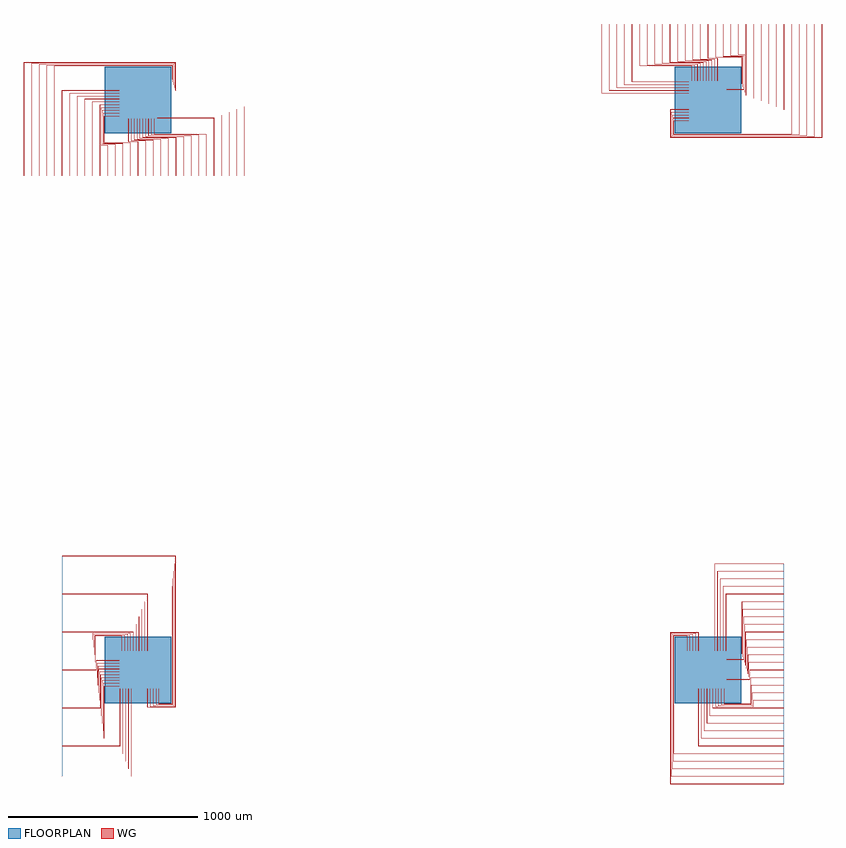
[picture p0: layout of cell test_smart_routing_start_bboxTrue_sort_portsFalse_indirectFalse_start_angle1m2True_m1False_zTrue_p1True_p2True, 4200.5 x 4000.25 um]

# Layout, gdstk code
import gdstk
lib = gdstk.Library(unit=1e-6, precision=1e-09)
def R(c, l, rs):  # rectangles x0, y0, x1, y1
    for r in rs: c.add(gdstk.rectangle(r[:2], r[2:], *l))
def P(c, l, *ps):  # polygons
    for p in ps: c.add(gdstk.Polygon(p, *l))
WG = (1, 0)
FLOORPLAN = (10, 0)

test_smart_routing_start = lib.new_cell('test_smart_routing_start_bboxTrue_sort_portsFalse_indirectFalse_start_angle1m2True_m1False_zTrue_p1True_p2True')
P(test_smart_routing_start, WG, [(2802.8,2802.8),(2802.8,2949.95),(2900,2949.95),(2900,2949.75),(2803,2949.75),(2803,2803),(3599.75,2803),(3599.75,3400),(3599.95,3400),(3599.95,2802.8)],
  [(2802.5,2802.5),(2802.5,2950.25),(2900,2950.25),(2900,2950.05),(2802.7,2950.05),(2802.7,2802.7),(3600.05,2802.7),(3600.05,3400),(3600.25,3400),(3600.25,2802.5)],
  [(2807.3,2807.3),(2807.3,2934.95),(2900,2934.95),(2900,2934.75),(2807.5,2934.75),(2807.5,2807.5),(3559.75,2807.5),(3559.75,3400),(3559.95,3400),(3559.95,2807.3)],
  [(2807,2807),(2807,2935.25),(2900,2935.25),(2900,2935.05),(2807.2,2935.05),(2807.2,2807.2),(3560.05,2807.2),(3560.05,3400),(3560.25,3400),(3560.25,2807)],
  [(2811.8,2811.8),(2811.8,2919.95),(2900,2919.95),(2900,2919.75),(2812,2919.75),(2812,2812),(3519.75,2812),(3519.75,3400),(3519.95,3400),(3519.95,2811.8)],
  [(2811.5,2811.5),(2811.5,2920.25),(2900,2920.25),(2900,2920.05),(2811.7,2920.05),(2811.7,2811.7),(3520.05,2811.7),(3520.05,3400),(3520.25,3400),(3520.25,2811.5)],
  [(2816.3,2816.3),(2816.3,2904.95),(2900,2904.95),(2900,2904.75),(2816.5,2904.75),(2816.5,2816.5),(3479.75,2816.5),(3479.75,3400),(3479.95,3400),(3479.95,2816.3)],
  [(2816,2816),(2816,2905.25),(2900,2905.25),(2900,2905.05),(2816.2,2905.05),(2816.2,2816.2),(3480.05,2816.2),(3480.05,3400),(3480.25,3400),(3480.25,2816)],
  [(2820.8,2820.8),(2820.8,2889.95),(2900,2889.95),(2900,2889.75),(2821,2889.75),(2821,2821),(3439.75,2821),(3439.75,3400),(3439.95,3400),(3439.95,2820.8)],
  [(2820.5,2820.5),(2820.5,2890.25),(2900,2890.25),(2900,2890.05),(2820.7,2890.05),(2820.7,2820.7),(3440.05,2820.7),(3440.05,3400),(3440.25,3400),(3440.25,2820.5)],
  [(3100,2950.05),(3100,2950.25),(3399.75,2950.25),(3399.75,3400),(3399.95,3400),(3399.95,2950.05)],
  [(3100,2949.75),(3100,2949.95),(3400.05,2949.95),(3400.05,3400),(3400.25,3400),(3400.25,2949.75)],
  [(3100,2965.05),(3100,2965.25),(3359.75,2965.25),(3359.75,3400),(3359.95,3400),(3359.95,2965.05)],
  [(3100,2964.75),(3100,2964.95),(3360.05,2964.95),(3360.05,3400),(3360.25,3400),(3360.25,2964.75)],
  [(3100,2980.05),(3100,2980.25),(3319.75,2980.25),(3319.75,3400),(3319.95,3400),(3319.95,2980.05)],
  [(3100,2979.75),(3100,2979.95),(3320.05,2979.95),(3320.05,3400),(3320.25,3400),(3320.25,2979.75)],
  [(3100,2995.05),(3100,2995.25),(3279.75,2995.25),(3279.75,3400),(3279.95,3400),(3279.95,2995.05)],
  [(3100,2994.75),(3100,2994.95),(3280.05,2994.95),(3280.05,3400),(3280.25,3400),(3280.25,2994.75)],
  [(3100,3010.05),(3100,3010.25),(3239.75,3010.25),(3239.75,3400),(3239.95,3400),(3239.95,3010.05)],
  [(3100,3009.75),(3100,3009.95),(3240.05,3009.95),(3240.05,3400),(3240.25,3400),(3240.25,3009.75)],
  [(3100,3025.05),(3100,3025.25),(3199.75,3025.25),(3199.75,3400),(3199.95,3400),(3199.95,3025.05)],
  [(3100,3024.75),(3100,3024.95),(3200.05,3024.95),(3200.05,3400),(3200.25,3400),(3200.25,3024.75)],
  [(3100,3040.05),(3100,3040.25),(3192.5,3040.25),(3192.5,3237.5),(3159.75,3237.5),(3159.75,3400),(3159.95,3400),(3159.95,3237.7),(3192.7,3237.7),(3192.7,3040.05)],
  [(3100,3039.75),(3100,3039.95),(3192.8,3039.95),(3192.8,3237.8),(3160.05,3237.8),(3160.05,3400),(3160.25,3400),(3160.25,3238),(3193,3238),(3193,3039.75)],
  [(3100,3055.05),(3100,3055.25),(3188,3055.25),(3188,3233),(3119.75,3233),(3119.75,3400),(3119.95,3400),(3119.95,3233.2),(3188.2,3233.2),(3188.2,3055.05)],
  [(3100,3054.75),(3100,3054.95),(3188.3,3054.95),(3188.3,3233.3),(3120.05,3233.3),(3120.05,3400),(3120.25,3400),(3120.25,3233.5),(3188.5,3233.5),(3188.5,3054.75)],
  [(3100,3070.05),(3100,3070.25),(3183.5,3070.25),(3183.5,3228.5),(3079.75,3228.5),(3079.75,3400),(3079.95,3400),(3079.95,3228.7),(3183.7,3228.7),(3183.7,3070.05)],
  [(3100,3069.75),(3100,3069.95),(3183.8,3069.95),(3183.8,3228.8),(3080.05,3228.8),(3080.05,3400),(3080.25,3400),(3080.25,3229),(3184,3229),(3184,3069.75)],
  [(3100,3085.05),(3100,3085.25),(3179,3085.25),(3179,3224),(3039.75,3224),(3039.75,3400),(3039.95,3400),(3039.95,3224.2),(3179.2,3224.2),(3179.2,3085.05)],
  [(3100,3084.75),(3100,3084.95),(3179.3,3084.95),(3179.3,3224.3),(3040.05,3224.3),(3040.05,3400),(3040.25,3400),(3040.25,3224.5),(3179.5,3224.5),(3179.5,3084.75)],
  [(3049.75,3100),(3049.75,3219.5),(2999.75,3219.5),(2999.75,3400),(2999.95,3400),(2999.95,3219.7),(3049.95,3219.7),(3049.95,3100)],
  [(3050.05,3100),(3050.05,3219.8),(3000.05,3219.8),(3000.05,3400),(3000.25,3400),(3000.25,3220),(3050.25,3220),(3050.25,3100)],
  [(3034.75,3100),(3034.75,3215),(2959.75,3215),(2959.75,3400),(2959.95,3400),(2959.95,3215.2),(3034.95,3215.2),(3034.95,3100)],
  [(3035.05,3100),(3035.05,3215.3),(2960.05,3215.3),(2960.05,3400),(2960.25,3400),(2960.25,3215.5),(3035.25,3215.5),(3035.25,3100)],
  [(3019.75,3100),(3019.75,3210.5),(2919.75,3210.5),(2919.75,3400),(2919.95,3400),(2919.95,3210.7),(3019.95,3210.7),(3019.95,3100)],
  [(3020.05,3100),(3020.05,3210.8),(2920.05,3210.8),(2920.05,3400),(2920.25,3400),(2920.25,3211),(3020.25,3211),(3020.25,3100)],
  [(3004.75,3100),(3004.75,3206),(2879.75,3206),(2879.75,3400),(2879.95,3400),(2879.95,3206.2),(3004.95,3206.2),(3004.95,3100)],
  [(3005.05,3100),(3005.05,3206.3),(2880.05,3206.3),(2880.05,3400),(2880.25,3400),(2880.25,3206.5),(3005.25,3206.5),(3005.25,3100)],
  [(2989.75,3100),(2989.75,3201.5),(2839.75,3201.5),(2839.75,3400),(2839.95,3400),(2839.95,3201.7),(2989.95,3201.7),(2989.95,3100)],
  [(2990.05,3100),(2990.05,3201.8),(2840.05,3201.8),(2840.05,3400),(2840.25,3400),(2840.25,3202),(2990.25,3202),(2990.25,3100)],
  [(2974.75,3100),(2974.75,3197),(2799.75,3197),(2799.75,3400),(2799.95,3400),(2799.95,3197.2),(2974.95,3197.2),(2974.95,3100)],
  [(2975.05,3100),(2975.05,3197.3),(2800.05,3197.3),(2800.05,3400),(2800.25,3400),(2800.25,3197.5),(2975.25,3197.5),(2975.25,3100)],
  [(2959.75,3100),(2959.75,3192.5),(2759.75,3192.5),(2759.75,3400),(2759.95,3400),(2759.95,3192.7),(2959.95,3192.7),(2959.95,3100)],
  [(2960.05,3100),(2960.05,3192.8),(2760.05,3192.8),(2760.05,3400),(2760.25,3400),(2760.25,3193),(2960.25,3193),(2960.25,3100)],
  [(2944.75,3100),(2944.75,3188),(2719.75,3188),(2719.75,3400),(2719.95,3400),(2719.95,3188.2),(2944.95,3188.2),(2944.95,3100)],
  [(2945.05,3100),(2945.05,3188.3),(2720.05,3188.3),(2720.05,3400),(2720.25,3400),(2720.25,3188.5),(2945.25,3188.5),(2945.25,3100)],
  [(2929.75,3100),(2929.75,3183.5),(2679.75,3183.5),(2679.75,3400),(2679.95,3400),(2679.95,3183.7),(2929.95,3183.7),(2929.95,3100)],
  [(2930.05,3100),(2930.05,3183.8),(2680.05,3183.8),(2680.05,3400),(2680.25,3400),(2680.25,3184),(2930.25,3184),(2930.25,3100)],
  [(2914.75,3100),(2914.75,3179),(2639.75,3179),(2639.75,3400),(2639.95,3400),(2639.95,3179.2),(2914.95,3179.2),(2914.95,3100)],
  [(2915.05,3100),(2915.05,3179.3),(2640.05,3179.3),(2640.05,3400),(2640.25,3400),(2640.25,3179.5),(2915.25,3179.5),(2915.25,3100)],
  [(2439.75,3034.75),(2439.75,3400),(2439.95,3400),(2439.95,3034.95),(2900,3034.95),(2900,3034.75)],
  [(2440.05,3035.05),(2440.05,3400),(2440.25,3400),(2440.25,3035.25),(2900,3035.25),(2900,3035.05)],
  [(2479.75,3049.75),(2479.75,3400),(2479.95,3400),(2479.95,3049.95),(2900,3049.95),(2900,3049.75)],
  [(2480.05,3050.05),(2480.05,3400),(2480.25,3400),(2480.25,3050.25),(2900,3050.25),(2900,3050.05)],
  [(2519.75,3064.75),(2519.75,3400),(2519.95,3400),(2519.95,3064.95),(2900,3064.95),(2900,3064.75)],
  [(2520.05,3065.05),(2520.05,3400),(2520.25,3400),(2520.25,3065.25),(2900,3065.25),(2900,3065.05)],
  [(2559.75,3079.75),(2559.75,3400),(2559.95,3400),(2559.95,3079.95),(2900,3079.95),(2900,3079.75)],
  [(2560.05,3080.05),(2560.05,3400),(2560.25,3400),(2560.25,3080.25),(2900,3080.25),(2900,3080.05)],
  [(2599.75,3094.75),(2599.75,3400),(2599.95,3400),(2599.95,3094.95),(2900,3094.95),(2900,3094.75)],
  [(2600.05,3095.05),(2600.05,3400),(2600.25,3400),(2600.25,3095.25),(2900,3095.25),(2900,3095.05)],
  [(-599.95,2600),(-599.95,3197.2),(197.2,3197.2),(197.2,3050.05),(100,3050.05),(100,3050.25),(197,3050.25),(197,3197),(-599.75,3197),(-599.75,2600)],
  [(-600.25,2600),(-600.25,3197.5),(197.5,3197.5),(197.5,3049.75),(100,3049.75),(100,3049.95),(197.3,3049.95),(197.3,3197.3),(-600.05,3197.3),(-600.05,2600)],
  [(-559.95,2600),(-559.95,3192.7),(192.7,3192.7),(192.7,3065.05),(100,3065.05),(100,3065.25),(192.5,3065.25),(192.5,3192.5),(-559.75,3192.5),(-559.75,2600)],
  [(-560.25,2600),(-560.25,3193),(193,3193),(193,3064.75),(100,3064.75),(100,3064.95),(192.8,3064.95),(192.8,3192.8),(-560.05,3192.8),(-560.05,2600)],
  [(-519.95,2600),(-519.95,3188.2),(188.2,3188.2),(188.2,3080.05),(100,3080.05),(100,3080.25),(188,3080.25),(188,3188),(-519.75,3188),(-519.75,2600)],
  [(-520.25,2600),(-520.25,3188.5),(188.5,3188.5),(188.5,3079.75),(100,3079.75),(100,3079.95),(188.3,3079.95),(188.3,3188.3),(-520.05,3188.3),(-520.05,2600)],
  [(-479.95,2600),(-479.95,3183.7),(183.7,3183.7),(183.7,3095.05),(100,3095.05),(100,3095.25),(183.5,3095.25),(183.5,3183.5),(-479.75,3183.5),(-479.75,2600)],
  [(-480.25,2600),(-480.25,3184),(184,3184),(184,3094.75),(100,3094.75),(100,3094.95),(183.8,3094.95),(183.8,3183.8),(-480.05,3183.8),(-480.05,2600)],
  [(-439.95,2600),(-439.95,3179.2),(179.2,3179.2),(179.2,3110.05),(100,3110.05),(100,3110.25),(179,3110.25),(179,3179),(-439.75,3179),(-439.75,2600)],
  [(-440.25,2600),(-440.25,3179.5),(179.5,3179.5),(179.5,3109.75),(100,3109.75),(100,3109.95),(179.3,3109.95),(179.3,3179.3),(-440.05,3179.3),(-440.05,2600)],
  [(-399.95,2600),(-399.95,3049.95),(-100,3049.95),(-100,3049.75),(-399.75,3049.75),(-399.75,2600)],
  [(-400.25,2600),(-400.25,3050.25),(-100,3050.25),(-100,3050.05),(-400.05,3050.05),(-400.05,2600)],
  [(-359.95,2600),(-359.95,3034.95),(-100,3034.95),(-100,3034.75),(-359.75,3034.75),(-359.75,2600)],
  [(-360.25,2600),(-360.25,3035.25),(-100,3035.25),(-100,3035.05),(-360.05,3035.05),(-360.05,2600)],
  [(-319.95,2600),(-319.95,3019.95),(-100,3019.95),(-100,3019.75),(-319.75,3019.75),(-319.75,2600)],
  [(-320.25,2600),(-320.25,3020.25),(-100,3020.25),(-100,3020.05),(-320.05,3020.05),(-320.05,2600)],
  [(-279.95,2600),(-279.95,3004.95),(-100,3004.95),(-100,3004.75),(-279.75,3004.75),(-279.75,2600)],
  [(-280.25,2600),(-280.25,3005.25),(-100,3005.25),(-100,3005.05),(-280.05,3005.05),(-280.05,2600)],
  [(-239.95,2600),(-239.95,2989.95),(-100,2989.95),(-100,2989.75),(-239.75,2989.75),(-239.75,2600)],
  [(-240.25,2600),(-240.25,2990.25),(-100,2990.25),(-100,2990.05),(-240.05,2990.05),(-240.05,2600)],
  [(-199.95,2600),(-199.95,2974.95),(-100,2974.95),(-100,2974.75),(-199.75,2974.75),(-199.75,2600)],
  [(-200.25,2600),(-200.25,2975.25),(-100,2975.25),(-100,2975.05),(-200.05,2975.05),(-200.05,2600)],
  [(-159.95,2600),(-159.95,2762.3),(-192.7,2762.3),(-192.7,2959.95),(-100,2959.95),(-100,2959.75),(-192.5,2959.75),(-192.5,2762.5),(-159.75,2762.5),(-159.75,2600)],
  [(-160.25,2600),(-160.25,2762),(-193,2762),(-193,2960.25),(-100,2960.25),(-100,2960.05),(-192.8,2960.05),(-192.8,2762.2),(-160.05,2762.2),(-160.05,2600)],
  [(-119.95,2600),(-119.95,2766.8),(-188.2,2766.8),(-188.2,2944.95),(-100,2944.95),(-100,2944.75),(-188,2944.75),(-188,2767),(-119.75,2767),(-119.75,2600)],
  [(-120.25,2600),(-120.25,2766.5),(-188.5,2766.5),(-188.5,2945.25),(-100,2945.25),(-100,2945.05),(-188.3,2945.05),(-188.3,2766.7),(-120.05,2766.7),(-120.05,2600)],
  [(-79.95,2600),(-79.95,2771.3),(-183.7,2771.3),(-183.7,2929.95),(-100,2929.95),(-100,2929.75),(-183.5,2929.75),(-183.5,2771.5),(-79.75,2771.5),(-79.75,2600)],
  [(-80.25,2600),(-80.25,2771),(-184,2771),(-184,2930.25),(-100,2930.25),(-100,2930.05),(-183.8,2930.05),(-183.8,2771.2),(-80.05,2771.2),(-80.05,2600)],
  [(-39.95,2600),(-39.95,2775.8),(-179.2,2775.8),(-179.2,2914.95),(-100,2914.95),(-100,2914.75),(-179,2914.75),(-179,2776),(-39.75,2776),(-39.75,2600)],
  [(-40.25,2600),(-40.25,2775.5),(-179.5,2775.5),(-179.5,2915.25),(-100,2915.25),(-100,2915.05),(-179.3,2915.05),(-179.3,2775.7),(-40.05,2775.7),(-40.05,2600)],
  [(-0.25,2600),(-0.25,2780),(-50.25,2780),(-50.25,2900),(-50.05,2900),(-50.05,2780.2),(-0.05,2780.2),(-0.05,2600)],
  [(0.05,2600),(0.05,2780.3),(-49.95,2780.3),(-49.95,2900),(-49.75,2900),(-49.75,2780.5),(0.25,2780.5),(0.25,2600)],
  [(39.75,2600),(39.75,2784.5),(-35.25,2784.5),(-35.25,2900),(-35.05,2900),(-35.05,2784.7),(39.95,2784.7),(39.95,2600)],
  [(40.05,2600),(40.05,2784.8),(-34.95,2784.8),(-34.95,2900),(-34.75,2900),(-34.75,2785),(40.25,2785),(40.25,2600)],
  [(79.75,2600),(79.75,2789),(-20.25,2789),(-20.25,2900),(-20.05,2900),(-20.05,2789.2),(79.95,2789.2),(79.95,2600)],
  [(80.05,2600),(80.05,2789.3),(-19.95,2789.3),(-19.95,2900),(-19.75,2900),(-19.75,2789.5),(80.25,2789.5),(80.25,2600)],
  [(119.75,2600),(119.75,2793.5),(-5.25,2793.5),(-5.25,2900),(-5.05,2900),(-5.05,2793.7),(119.95,2793.7),(119.95,2600)],
  [(120.05,2600),(120.05,2793.8),(-4.95,2793.8),(-4.95,2900),(-4.75,2900),(-4.75,2794),(120.25,2794),(120.25,2600)],
  [(159.75,2600),(159.75,2798),(9.75,2798),(9.75,2900),(9.95,2900),(9.95,2798.2),(159.95,2798.2),(159.95,2600)],
  [(160.05,2600),(160.05,2798.3),(10.05,2798.3),(10.05,2900),(10.25,2900),(10.25,2798.5),(160.25,2798.5),(160.25,2600)],
  [(199.75,2600),(199.75,2802.5),(24.75,2802.5),(24.75,2900),(24.95,2900),(24.95,2802.7),(199.95,2802.7),(199.95,2600)],
  [(200.05,2600),(200.05,2802.8),(25.05,2802.8),(25.05,2900),(25.25,2900),(25.25,2803),(200.25,2803),(200.25,2600)],
  [(239.75,2600),(239.75,2807),(39.75,2807),(39.75,2900),(39.95,2900),(39.95,2807.2),(239.95,2807.2),(239.95,2600)],
  [(240.05,2600),(240.05,2807.3),(40.05,2807.3),(40.05,2900),(40.25,2900),(40.25,2807.5),(240.25,2807.5),(240.25,2600)],
  [(279.75,2600),(279.75,2811.5),(54.75,2811.5),(54.75,2900),(54.95,2900),(54.95,2811.7),(279.95,2811.7),(279.95,2600)],
  [(280.05,2600),(280.05,2811.8),(55.05,2811.8),(55.05,2900),(55.25,2900),(55.25,2812),(280.25,2812),(280.25,2600)],
  [(319.75,2600),(319.75,2816),(69.75,2816),(69.75,2900),(69.95,2900),(69.95,2816.2),(319.95,2816.2),(319.95,2600)],
  [(320.05,2600),(320.05,2816.3),(70.05,2816.3),(70.05,2900),(70.25,2900),(70.25,2816.5),(320.25,2816.5),(320.25,2600)],
  [(359.75,2600),(359.75,2820.5),(84.75,2820.5),(84.75,2900),(84.95,2900),(84.95,2820.7),(359.95,2820.7),(359.95,2600)],
  [(360.05,2600),(360.05,2820.8),(85.05,2820.8),(85.05,2900),(85.25,2900),(85.25,2821),(360.25,2821),(360.25,2600)],
  [(559.75,2600),(559.75,2964.75),(100,2964.75),(100,2964.95),(559.95,2964.95),(559.95,2600)],
  [(560.05,2600),(560.05,2965.05),(100,2965.05),(100,2965.25),(560.25,2965.25),(560.25,2600)],
  [(519.75,2600),(519.75,2949.75),(100,2949.75),(100,2949.95),(519.95,2949.95),(519.95,2600)],
  [(520.05,2600),(520.05,2950.05),(100,2950.05),(100,2950.25),(520.25,2950.25),(520.25,2600)],
  [(479.75,2600),(479.75,2934.75),(100,2934.75),(100,2934.95),(479.95,2934.95),(479.95,2600)],
  [(480.05,2600),(480.05,2935.05),(100,2935.05),(100,2935.25),(480.25,2935.25),(480.25,2600)],
  [(439.75,2600),(439.75,2919.75),(100,2919.75),(100,2919.95),(439.95,2919.95),(439.95,2600)],
  [(440.05,2600),(440.05,2920.05),(100,2920.05),(100,2920.25),(440.25,2920.25),(440.25,2600)],
  [(399.75,2600),(399.75,2904.75),(100,2904.75),(100,2904.95),(399.95,2904.95),(399.95,2600)],
  [(400.05,2600),(400.05,2905.05),(100,2905.05),(100,2905.25),(400.25,2905.25),(400.25,2600)],
  [(50.05,-197.2),(50.05,-100),(50.25,-100),(50.25,-197),(197,-197),(197,599.75),(-400,599.75),(-400,599.95),(197.2,599.95),(197.2,-197.2)],
  [(49.75,-197.5),(49.75,-100),(49.95,-100),(49.95,-197.3),(197.3,-197.3),(197.3,600.05),(-400,600.05),(-400,600.25),(197.5,600.25),(197.5,-197.5)],
  [(65.05,-192.7),(65.05,-100),(65.25,-100),(65.25,-192.5),(192.5,-192.5),(192.5,559.75),(-400,559.75),(-400,559.95),(192.7,559.95),(192.7,-192.7)],
  [(64.75,-193),(64.75,-100),(64.95,-100),(64.95,-192.8),(192.8,-192.8),(192.8,560.05),(-400,560.05),(-400,560.25),(193,560.25),(193,-193)],
  [(80.05,-188.2),(80.05,-100),(80.25,-100),(80.25,-188),(188,-188),(188,519.75),(-400,519.75),(-400,519.95),(188.2,519.95),(188.2,-188.2)],
  [(79.75,-188.5),(79.75,-100),(79.95,-100),(79.95,-188.3),(188.3,-188.3),(188.3,520.05),(-400,520.05),(-400,520.25),(188.5,520.25),(188.5,-188.5)],
  [(95.05,-183.7),(95.05,-100),(95.25,-100),(95.25,-183.5),(183.5,-183.5),(183.5,479.75),(-400,479.75),(-400,479.95),(183.7,479.95),(183.7,-183.7)],
  [(94.75,-184),(94.75,-100),(94.95,-100),(94.95,-183.8),(183.8,-183.8),(183.8,480.05),(-400,480.05),(-400,480.25),(184,480.25),(184,-184)],
  [(110.05,-179.2),(110.05,-100),(110.25,-100),(110.25,-179),(179,-179),(179,439.75),(-400,439.75),(-400,439.95),(179.2,439.95),(179.2,-179.2)],
  [(109.75,-179.5),(109.75,-100),(109.95,-100),(109.95,-179.3),(179.3,-179.3),(179.3,440.05),(-400,440.05),(-400,440.25),(179.5,440.25),(179.5,-179.5)],
  [(49.75,100),(49.75,399.75),(-400,399.75),(-400,399.95),(49.95,399.95),(49.95,100)],
  [(50.05,100),(50.05,400.05),(-400,400.05),(-400,400.25),(50.25,400.25),(50.25,100)],
  [(34.75,100),(34.75,359.75),(-400,359.75),(-400,359.95),(34.95,359.95),(34.95,100)],
  [(35.05,100),(35.05,360.05),(-400,360.05),(-400,360.25),(35.25,360.25),(35.25,100)],
  [(19.75,100),(19.75,319.75),(-400,319.75),(-400,319.95),(19.95,319.95),(19.95,100)],
  [(20.05,100),(20.05,320.05),(-400,320.05),(-400,320.25),(20.25,320.25),(20.25,100)],
  [(4.75,100),(4.75,279.75),(-400,279.75),(-400,279.95),(4.95,279.95),(4.95,100)],
  [(5.05,100),(5.05,280.05),(-400,280.05),(-400,280.25),(5.25,280.25),(5.25,100)],
  [(-10.25,100),(-10.25,239.75),(-400,239.75),(-400,239.95),(-10.05,239.95),(-10.05,100)],
  [(-9.95,100),(-9.95,240.05),(-400,240.05),(-400,240.25),(-9.75,240.25),(-9.75,100)],
  [(-25.25,100),(-25.25,199.75),(-400,199.75),(-400,199.95),(-25.05,199.95),(-25.05,100)],
  [(-24.95,100),(-24.95,200.05),(-400,200.05),(-400,200.25),(-24.75,200.25),(-24.75,100)],
  [(-40.25,100),(-40.25,192.5),(-237.5,192.5),(-237.5,159.75),(-400,159.75),(-400,159.95),(-237.7,159.95),(-237.7,192.7),(-40.05,192.7),(-40.05,100)],
  [(-39.95,100),(-39.95,192.8),(-237.8,192.8),(-237.8,160.05),(-400,160.05),(-400,160.25),(-238,160.25),(-238,193),(-39.75,193),(-39.75,100)],
  [(-55.25,100),(-55.25,188),(-233,188),(-233,119.75),(-400,119.75),(-400,119.95),(-233.2,119.95),(-233.2,188.2),(-55.05,188.2),(-55.05,100)],
  [(-54.95,100),(-54.95,188.3),(-233.3,188.3),(-233.3,120.05),(-400,120.05),(-400,120.25),(-233.5,120.25),(-233.5,188.5),(-54.75,188.5),(-54.75,100)],
  [(-400,79.75),(-400,79.95),(-228.7,79.95),(-228.7,183.7),(-70.05,183.7),(-70.05,100),(-70.25,100),(-70.25,183.5),(-228.5,183.5),(-228.5,79.75)],
  [(-400,80.05),(-400,80.25),(-229,80.25),(-229,184),(-69.75,184),(-69.75,100),(-69.95,100),(-69.95,183.8),(-228.8,183.8),(-228.8,80.05)],
  [(-400,39.75),(-400,39.95),(-224.2,39.95),(-224.2,179.2),(-85.05,179.2),(-85.05,100),(-85.25,100),(-85.25,179),(-224,179),(-224,39.75)],
  [(-400,40.05),(-400,40.25),(-224.5,40.25),(-224.5,179.5),(-84.75,179.5),(-84.75,100),(-84.95,100),(-84.95,179.3),(-224.3,179.3),(-224.3,40.05)],
  [(-400,-0.25),(-400,-0.05),(-219.7,-0.05),(-219.7,49.95),(-100,49.95),(-100,49.75),(-219.5,49.75),(-219.5,-0.25)],
  [(-400,0.05),(-400,0.25),(-220,0.25),(-220,50.25),(-100,50.25),(-100,50.05),(-219.8,50.05),(-219.8,0.05)],
  [(-400,-40.25),(-400,-40.05),(-215.2,-40.05),(-215.2,34.95),(-100,34.95),(-100,34.75),(-215,34.75),(-215,-40.25)],
  [(-400,-39.95),(-400,-39.75),(-215.5,-39.75),(-215.5,35.25),(-100,35.25),(-100,35.05),(-215.3,35.05),(-215.3,-39.95)],
  [(-400,-80.25),(-400,-80.05),(-210.7,-80.05),(-210.7,19.95),(-100,19.95),(-100,19.75),(-210.5,19.75),(-210.5,-80.25)],
  [(-400,-79.95),(-400,-79.75),(-211,-79.75),(-211,20.25),(-100,20.25),(-100,20.05),(-210.8,20.05),(-210.8,-79.95)],
  [(-400,-120.25),(-400,-120.05),(-206.2,-120.05),(-206.2,4.95),(-100,4.95),(-100,4.75),(-206,4.75),(-206,-120.25)],
  [(-400,-119.95),(-400,-119.75),(-206.5,-119.75),(-206.5,5.25),(-100,5.25),(-100,5.05),(-206.3,5.05),(-206.3,-119.95)],
  [(-400,-160.25),(-400,-160.05),(-201.7,-160.05),(-201.7,-10.05),(-100,-10.05),(-100,-10.25),(-201.5,-10.25),(-201.5,-160.25)],
  [(-400,-159.95),(-400,-159.75),(-202,-159.75),(-202,-9.75),(-100,-9.75),(-100,-9.95),(-201.8,-9.95),(-201.8,-159.95)],
  [(-400,-200.25),(-400,-200.05),(-197.2,-200.05),(-197.2,-25.05),(-100,-25.05),(-100,-25.25),(-197,-25.25),(-197,-200.25)],
  [(-400,-199.95),(-400,-199.75),(-197.5,-199.75),(-197.5,-24.75),(-100,-24.75),(-100,-24.95),(-197.3,-24.95),(-197.3,-199.95)],
  [(-400,-240.25),(-400,-240.05),(-192.7,-240.05),(-192.7,-40.05),(-100,-40.05),(-100,-40.25),(-192.5,-40.25),(-192.5,-240.25)],
  [(-400,-239.95),(-400,-239.75),(-193,-239.75),(-193,-39.75),(-100,-39.75),(-100,-39.95),(-192.8,-39.95),(-192.8,-239.95)],
  [(-400,-280.25),(-400,-280.05),(-188.2,-280.05),(-188.2,-55.05),(-100,-55.05),(-100,-55.25),(-188,-55.25),(-188,-280.25)],
  [(-400,-279.95),(-400,-279.75),(-188.5,-279.75),(-188.5,-54.75),(-100,-54.75),(-100,-54.95),(-188.3,-54.95),(-188.3,-279.95)],
  [(-400,-320.25),(-400,-320.05),(-183.7,-320.05),(-183.7,-70.05),(-100,-70.05),(-100,-70.25),(-183.5,-70.25),(-183.5,-320.25)],
  [(-400,-319.95),(-400,-319.75),(-184,-319.75),(-184,-69.75),(-100,-69.75),(-100,-69.95),(-183.8,-69.95),(-183.8,-319.95)],
  [(-400,-360.25),(-400,-360.05),(-179.2,-360.05),(-179.2,-85.05),(-100,-85.05),(-100,-85.25),(-179,-85.25),(-179,-360.25)],
  [(-400,-359.95),(-400,-359.75),(-179.5,-359.75),(-179.5,-84.75),(-100,-84.75),(-100,-84.95),(-179.3,-84.95),(-179.3,-359.95)],
  [(-400,-559.95),(-400,-559.75),(-35.25,-559.75),(-35.25,-100),(-35.05,-100),(-35.05,-559.95)],
  [(-400,-560.25),(-400,-560.05),(-34.95,-560.05),(-34.95,-100),(-34.75,-100),(-34.75,-560.25)],
  [(-400,-519.95),(-400,-519.75),(-50.25,-519.75),(-50.25,-100),(-50.05,-100),(-50.05,-519.95)],
  [(-400,-520.25),(-400,-520.05),(-49.95,-520.05),(-49.95,-100),(-49.75,-100),(-49.75,-520.25)],
  [(-400,-479.95),(-400,-479.75),(-65.25,-479.75),(-65.25,-100),(-65.05,-100),(-65.05,-479.95)],
  [(-400,-480.25),(-400,-480.05),(-64.95,-480.05),(-64.95,-100),(-64.75,-100),(-64.75,-480.25)],
  [(-400,-439.95),(-400,-439.75),(-80.25,-439.75),(-80.25,-100),(-80.05,-100),(-80.05,-439.95)],
  [(-400,-440.25),(-400,-440.05),(-79.95,-440.05),(-79.95,-100),(-79.75,-100),(-79.75,-440.25)],
  [(-400,-399.95),(-400,-399.75),(-95.25,-399.75),(-95.25,-100),(-95.05,-100),(-95.05,-399.95)],
  [(-400,-400.25),(-400,-400.05),(-94.95,-400.05),(-94.95,-100),(-94.75,-100),(-94.75,-400.25)],
  [(2802.8,-599.95),(2802.8,197.2),(2949.95,197.2),(2949.95,100),(2949.75,100),(2949.75,197),(2803,197),(2803,-599.75),(3400,-599.75),(3400,-599.95)],
  [(2802.5,-600.25),(2802.5,197.5),(2950.25,197.5),(2950.25,100),(2950.05,100),(2950.05,197.3),(2802.7,197.3),(2802.7,-600.05),(3400,-600.05),(3400,-600.25)],
  [(2807.3,-559.95),(2807.3,192.7),(2934.95,192.7),(2934.95,100),(2934.75,100),(2934.75,192.5),(2807.5,192.5),(2807.5,-559.75),(3400,-559.75),(3400,-559.95)],
  [(2807,-560.25),(2807,193),(2935.25,193),(2935.25,100),(2935.05,100),(2935.05,192.8),(2807.2,192.8),(2807.2,-560.05),(3400,-560.05),(3400,-560.25)],
  [(2811.8,-519.95),(2811.8,188.2),(2919.95,188.2),(2919.95,100),(2919.75,100),(2919.75,188),(2812,188),(2812,-519.75),(3400,-519.75),(3400,-519.95)],
  [(2811.5,-520.25),(2811.5,188.5),(2920.25,188.5),(2920.25,100),(2920.05,100),(2920.05,188.3),(2811.7,188.3),(2811.7,-520.05),(3400,-520.05),(3400,-520.25)],
  [(2816.3,-479.95),(2816.3,183.7),(2904.95,183.7),(2904.95,100),(2904.75,100),(2904.75,183.5),(2816.5,183.5),(2816.5,-479.75),(3400,-479.75),(3400,-479.95)],
  [(2816,-480.25),(2816,184),(2905.25,184),(2905.25,100),(2905.05,100),(2905.05,183.8),(2816.2,183.8),(2816.2,-480.05),(3400,-480.05),(3400,-480.25)],
  [(2820.8,-439.95),(2820.8,179.2),(2889.95,179.2),(2889.95,100),(2889.75,100),(2889.75,179),(2821,179),(2821,-439.75),(3400,-439.75),(3400,-439.95)],
  [(2820.5,-440.25),(2820.5,179.5),(2890.25,179.5),(2890.25,100),(2890.05,100),(2890.05,179.3),(2820.7,179.3),(2820.7,-440.05),(3400,-440.05),(3400,-440.25)],
  [(2949.75,-400.25),(2949.75,-100),(2949.95,-100),(2949.95,-400.05),(3400,-400.05),(3400,-400.25)],
  [(2950.05,-399.95),(2950.05,-100),(2950.25,-100),(2950.25,-399.75),(3400,-399.75),(3400,-399.95)],
  [(2964.75,-360.25),(2964.75,-100),(2964.95,-100),(2964.95,-360.05),(3400,-360.05),(3400,-360.25)],
  [(2965.05,-359.95),(2965.05,-100),(2965.25,-100),(2965.25,-359.75),(3400,-359.75),(3400,-359.95)],
  [(2979.75,-320.25),(2979.75,-100),(2979.95,-100),(2979.95,-320.05),(3400,-320.05),(3400,-320.25)],
  [(2980.05,-319.95),(2980.05,-100),(2980.25,-100),(2980.25,-319.75),(3400,-319.75),(3400,-319.95)],
  [(2994.75,-280.25),(2994.75,-100),(2994.95,-100),(2994.95,-280.05),(3400,-280.05),(3400,-280.25)],
  [(2995.05,-279.95),(2995.05,-100),(2995.25,-100),(2995.25,-279.75),(3400,-279.75),(3400,-279.95)],
  [(3009.75,-240.25),(3009.75,-100),(3009.95,-100),(3009.95,-240.05),(3400,-240.05),(3400,-240.25)],
  [(3010.05,-239.95),(3010.05,-100),(3010.25,-100),(3010.25,-239.75),(3400,-239.75),(3400,-239.95)],
  [(3024.75,-200.25),(3024.75,-100),(3024.95,-100),(3024.95,-200.05),(3400,-200.05),(3400,-200.25)],
  [(3025.05,-199.95),(3025.05,-100),(3025.25,-100),(3025.25,-199.75),(3400,-199.75),(3400,-199.95)],
  [(3039.75,-193),(3039.75,-100),(3039.95,-100),(3039.95,-192.8),(3237.8,-192.8),(3237.8,-160.05),(3400,-160.05),(3400,-160.25),(3238,-160.25),(3238,-193)],
  [(3040.05,-192.7),(3040.05,-100),(3040.25,-100),(3040.25,-192.5),(3237.5,-192.5),(3237.5,-159.75),(3400,-159.75),(3400,-159.95),(3237.7,-159.95),(3237.7,-192.7)],
  [(3054.75,-188.5),(3054.75,-100),(3054.95,-100),(3054.95,-188.3),(3233.3,-188.3),(3233.3,-120.05),(3400,-120.05),(3400,-120.25),(3233.5,-120.25),(3233.5,-188.5)],
  [(3055.05,-188.2),(3055.05,-100),(3055.25,-100),(3055.25,-188),(3233,-188),(3233,-119.75),(3400,-119.75),(3400,-119.95),(3233.2,-119.95),(3233.2,-188.2)],
  [(3069.75,-184),(3069.75,-100),(3069.95,-100),(3069.95,-183.8),(3228.8,-183.8),(3228.8,-80.05),(3400,-80.05),(3400,-80.25),(3229,-80.25),(3229,-184)],
  [(3070.05,-183.7),(3070.05,-100),(3070.25,-100),(3070.25,-183.5),(3228.5,-183.5),(3228.5,-79.75),(3400,-79.75),(3400,-79.95),(3228.7,-79.95),(3228.7,-183.7)],
  [(3084.75,-179.5),(3084.75,-100),(3084.95,-100),(3084.95,-179.3),(3224.3,-179.3),(3224.3,-40.05),(3400,-40.05),(3400,-40.25),(3224.5,-40.25),(3224.5,-179.5)],
  [(3085.05,-179.2),(3085.05,-100),(3085.25,-100),(3085.25,-179),(3224,-179),(3224,-39.75),(3400,-39.75),(3400,-39.95),(3224.2,-39.95),(3224.2,-179.2)],
  [(3100,-50.25),(3100,-50.05),(3219.8,-50.05),(3219.8,-0.05),(3400,-0.05),(3400,-0.25),(3220,-0.25),(3220,-50.25)],
  [(3100,-49.95),(3100,-49.75),(3219.5,-49.75),(3219.5,0.25),(3400,0.25),(3400,0.05),(3219.7,0.05),(3219.7,-49.95)],
  [(3100,-35.25),(3100,-35.05),(3215.3,-35.05),(3215.3,39.95),(3400,39.95),(3400,39.75),(3215.5,39.75),(3215.5,-35.25)],
  [(3100,-34.95),(3100,-34.75),(3215,-34.75),(3215,40.25),(3400,40.25),(3400,40.05),(3215.2,40.05),(3215.2,-34.95)],
  [(3100,-20.25),(3100,-20.05),(3210.8,-20.05),(3210.8,79.95),(3400,79.95),(3400,79.75),(3211,79.75),(3211,-20.25)],
  [(3100,-19.95),(3100,-19.75),(3210.5,-19.75),(3210.5,80.25),(3400,80.25),(3400,80.05),(3210.7,80.05),(3210.7,-19.95)],
  [(3100,-5.25),(3100,-5.05),(3206.3,-5.05),(3206.3,119.95),(3400,119.95),(3400,119.75),(3206.5,119.75),(3206.5,-5.25)],
  [(3100,-4.95),(3100,-4.75),(3206,-4.75),(3206,120.25),(3400,120.25),(3400,120.05),(3206.2,120.05),(3206.2,-4.95)],
  [(3100,9.75),(3100,9.95),(3201.8,9.95),(3201.8,159.95),(3400,159.95),(3400,159.75),(3202,159.75),(3202,9.75)],
  [(3100,10.05),(3100,10.25),(3201.5,10.25),(3201.5,160.25),(3400,160.25),(3400,160.05),(3201.7,160.05),(3201.7,10.05)],
  [(3100,24.75),(3100,24.95),(3197.3,24.95),(3197.3,199.95),(3400,199.95),(3400,199.75),(3197.5,199.75),(3197.5,24.75)],
  [(3100,25.05),(3100,25.25),(3197,25.25),(3197,200.25),(3400,200.25),(3400,200.05),(3197.2,200.05),(3197.2,25.05)],
  [(3100,39.75),(3100,39.95),(3192.8,39.95),(3192.8,239.95),(3400,239.95),(3400,239.75),(3193,239.75),(3193,39.75)],
  [(3100,40.05),(3100,40.25),(3192.5,40.25),(3192.5,240.25),(3400,240.25),(3400,240.05),(3192.7,240.05),(3192.7,40.05)],
  [(3100,54.75),(3100,54.95),(3188.3,54.95),(3188.3,279.95),(3400,279.95),(3400,279.75),(3188.5,279.75),(3188.5,54.75)],
  [(3100,55.05),(3100,55.25),(3188,55.25),(3188,280.25),(3400,280.25),(3400,280.05),(3188.2,280.05),(3188.2,55.05)],
  [(3100,69.75),(3100,69.95),(3183.8,69.95),(3183.8,319.95),(3400,319.95),(3400,319.75),(3184,319.75),(3184,69.75)],
  [(3100,70.05),(3100,70.25),(3183.5,70.25),(3183.5,320.25),(3400,320.25),(3400,320.05),(3183.7,320.05),(3183.7,70.05)],
  [(3100,84.75),(3100,84.95),(3179.3,84.95),(3179.3,359.95),(3400,359.95),(3400,359.75),(3179.5,359.75),(3179.5,84.75)],
  [(3100,85.05),(3100,85.25),(3179,85.25),(3179,360.25),(3400,360.25),(3400,360.05),(3179.2,360.05),(3179.2,85.05)],
  [(3035.05,100),(3035.05,559.95),(3400,559.95),(3400,559.75),(3035.25,559.75),(3035.25,100)],
  [(3034.75,100),(3034.75,560.25),(3400,560.25),(3400,560.05),(3034.95,560.05),(3034.95,100)],
  [(3050.05,100),(3050.05,519.95),(3400,519.95),(3400,519.75),(3050.25,519.75),(3050.25,100)],
  [(3049.75,100),(3049.75,520.25),(3400,520.25),(3400,520.05),(3049.95,520.05),(3049.95,100)],
  [(3065.05,100),(3065.05,479.95),(3400,479.95),(3400,479.75),(3065.25,479.75),(3065.25,100)],
  [(3064.75,100),(3064.75,480.25),(3400,480.25),(3400,480.05),(3064.95,480.05),(3064.95,100)],
  [(3080.05,100),(3080.05,439.95),(3400,439.95),(3400,439.75),(3080.25,439.75),(3080.25,100)],
  [(3079.75,100),(3079.75,440.25),(3400,440.25),(3400,440.05),(3079.95,440.05),(3079.95,100)],
  [(3095.05,100),(3095.05,399.95),(3400,399.95),(3400,399.75),(3095.25,399.75),(3095.25,100)],
  [(3094.75,100),(3094.75,400.25),(3400,400.25),(3400,400.05),(3094.95,400.05),(3094.95,100)])
R(test_smart_routing_start, FLOORPLAN, [(-175,-175,175,175), (2825,-175,3175,175), (-175,2825,175,3175), (2825,2825,3175,3175)])
P(test_smart_routing_start, FLOORPLAN, [(-400,-560),(-400,600),(-400,600),(-400,-560)],
  [(-600,2600),(-600,2600),(560,2600),(560,2600)],
  [(3400,-600),(3400,560),(3400,560),(3400,-600)],
  [(2440,3400),(2440,3400),(3600,3400),(3600,3400)])

lib.write_gds('test_smart_routing_start_bboxTrue_sort_portsFalse_indirectFalse_start_angle1m2True_m1False_zTrue_p1True_p2True.gds')
